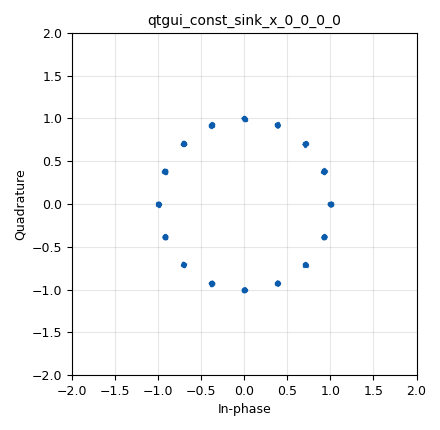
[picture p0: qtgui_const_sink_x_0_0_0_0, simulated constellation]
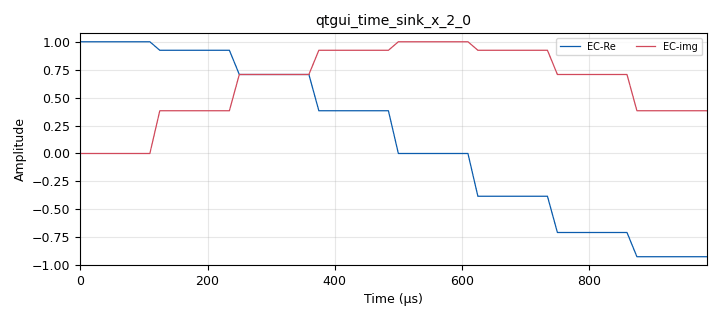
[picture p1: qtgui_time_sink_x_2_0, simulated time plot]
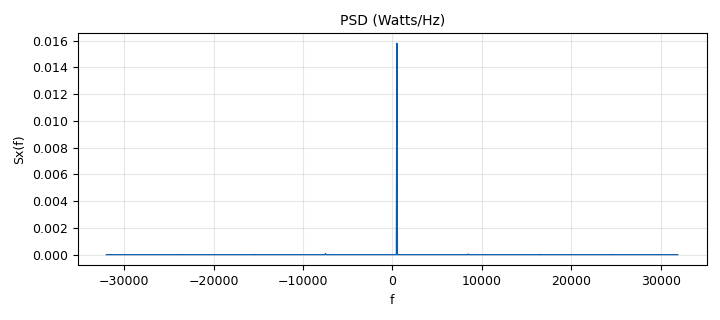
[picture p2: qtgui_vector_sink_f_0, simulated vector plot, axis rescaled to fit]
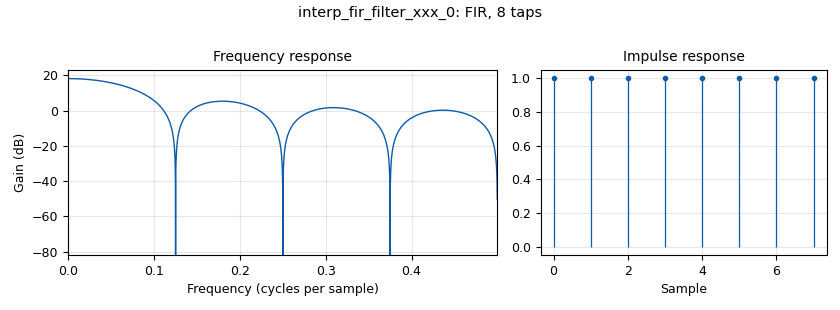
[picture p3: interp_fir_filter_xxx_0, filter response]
options:
  parameters:
    generate_options: qt_gui
    id: new_hier
    output_language: python
    title: Not titled yet
  states: {}

blocks:
- name: Constelacion
  id: variable
  parameters:
    value: |
      (1+0j, 0.92388+0.38268j, 0.70711+0.70711j, 0.38268+0.92388j,
      0+1j, -0.38268+0.92388j, -0.70711+0.70711j, -0.92388+0.38268j,
      -1+0j, -0.92388-0.38268j, -0.70711-0.70711j, -0.38268-0.92388j,
      -0-1j, 0.38268-0.92388j, 0.70711-0.70711j, 0.92388-0.38268j)
  states: {}
- name: M
  id: variable
  parameters:
    value: len(Constelacion)
  states: {}
- name: Nbps
  id: variable
  parameters:
    value: int(math.log(M,2))
  states: {}
- name: Rb
  id: variable
  parameters:
    value: '32000'
  states: {}
- name: Rs
  id: variable
  parameters:
    value: Rb/Nbps
  states: {}
- name: Sps
  id: variable
  parameters:
    value: len(h)
  states: {}
- name: h
  id: variable
  parameters:
    value: (1,1,1,1,1,1,1,1)
  states: {}
- name: samp_rate
  id: variable
  parameters:
    value: Rs*Sps
  states: {}
- name: M
  id: parameter
  parameters:
    value: len(Constelacion)
  states: {state: disabled}
- name: Menu
  id: qtgui_tab_widget
  parameters:
    label0: Time & Freq
    label1: Freq
    num_tabs: '2'
  states: {}
- name: analog_noise_source_x_0
  id: analog_noise_source_x
  parameters:
    amp: '0.01'
    noise_type: analog.GR_GAUSSIAN
    seed: '0'
    type: complex
  states: {}
- name: blocks_add_xx_0
  id: blocks_add_xx
  parameters:
    type: complex
  states: {}
- name: blocks_complex_to_mag_squared_0
  id: blocks_complex_to_mag_squared
  parameters:
    vlen: '1024'
  states: {}
- name: blocks_multiply_const_vxx_1
  id: blocks_multiply_const_vxx
  parameters:
    const: '[1/(1024*samp_rate)]*1024'
    type: float
    vlen: '1024'
  states: {}
- name: blocks_null_sink_0
  id: blocks_null_sink
  parameters:
    type: complex
  states: {}
- name: blocks_stream_to_vector_0
  id: blocks_stream_to_vector
  parameters:
    num_items: '1024'
    type: complex
  states: {}
- name: blocks_throttle2_0
  id: blocks_throttle2
  parameters:
    samples_per_second: samp_rate
    type: complex
  states: {}
- name: blocks_vector_source_x_0
  id: blocks_vector_source_x
  parameters:
    repeat: 'True'
    type: byte
    vector: (0,1,2,3,4,5,6,7,8,9,10,11,12,13,14,15)
  states: {}
- name: digital_chunks_to_symbols_xx_0
  id: digital_chunks_to_symbols_xx
  parameters:
    dimension: '1'
    in_type: byte
    out_type: complex
    symbol_table: Constelacion
  states: {}
- name: epy_block_0_0
  id: epy_block
  parameters:
    N: '1024'
    _source_code: |
      import numpy as np
      from gnuradio import gr


      class blk(gr.sync_block):  
          """vector averager. N is the lengh of the vector"""

          def __init__(self, N=1024):
              gr.sync_block.__init__(
                  self,
                  name='e_vec_averager_ff',   
                  in_sig=[(np.float32,N)],
                  out_sig=[(np.float32,N)]
              )
              self.N = N
              self.rows_counter=0
              self.sum=0

          def work(self, input_items, output_items):
              x=input_items[0]
              y=output_items[0]
              self.sum += np.sum(x, axis=0)
              self.rows_counter += len(x)
              y[:]=self.sum/self.rows_counter
              return len(output_items[0])
  states: {}
- name: fft_vxx_0
  id: fft_vxx
  parameters:
    fft_size: '1024'
    forward: 'True'
    shift: 'True'
    type: complex
    window: '[1]*1024'
  states: {}
- name: import_0
  id: import
  parameters:
    imports: import math
  states: {}
- name: interp_fir_filter_xxx_0
  id: interp_fir_filter_xxx
  parameters:
    interp: Sps
    taps: h
    type: ccc
  states: {}
- name: qtgui_const_sink_x_0_0_0_0
  id: qtgui_const_sink_x
  parameters:
    size: '1024'
    type: complex
  states: {}
- name: qtgui_time_sink_x_2_0
  id: qtgui_time_sink_x
  parameters:
    label1: EC-Re
    label2: EC-img
    size: int(32*Sps/Nbps)
    srate: samp_rate
    type: complex
    width1: '3'
    width2: '3'
  states: {}
- name: qtgui_vector_sink_f_0
  id: qtgui_vector_sink_f
  parameters:
    gui_hint: Menu@0:3,0,1,1
    label1: p4
    name: '"PSD (Watts/Hz)"'
    vlen: '1024'
    x_axis_label: '"f"'
    x_start: '-samp_rate/2'
    x_step: samp_rate/1024
    x_units: '"Hz"'
    y_axis_label: '"Sx(f)"'
    y_units: '"Watss/Hz"'
    ymax: 1/Rb
    ymin: '0'
  states: {}

connections:
- [analog_noise_source_x_0, '0', blocks_add_xx_0, '1']
- [blocks_add_xx_0, '0', blocks_null_sink_0, '0']
- [blocks_add_xx_0, '0', blocks_stream_to_vector_0, '0']
- [blocks_add_xx_0, '0', qtgui_const_sink_x_0_0_0_0, '0']
- [blocks_complex_to_mag_squared_0, '0', epy_block_0_0, '0']
- [blocks_multiply_const_vxx_1, '0', qtgui_vector_sink_f_0, '0']
- [blocks_stream_to_vector_0, '0', fft_vxx_0, '0']
- [blocks_throttle2_0, '0', blocks_add_xx_0, '0']
- [blocks_vector_source_x_0, '0', digital_chunks_to_symbols_xx_0, '0']
- [digital_chunks_to_symbols_xx_0, '0', interp_fir_filter_xxx_0, '0']
- [epy_block_0_0, '0', blocks_multiply_const_vxx_1, '0']
- [fft_vxx_0, '0', blocks_complex_to_mag_squared_0, '0']
- [interp_fir_filter_xxx_0, '0', blocks_throttle2_0, '0']
- [interp_fir_filter_xxx_0, '0', qtgui_time_sink_x_2_0, '0']

metadata:
  file_format: 1
  grc_version: 3.10.10.0
